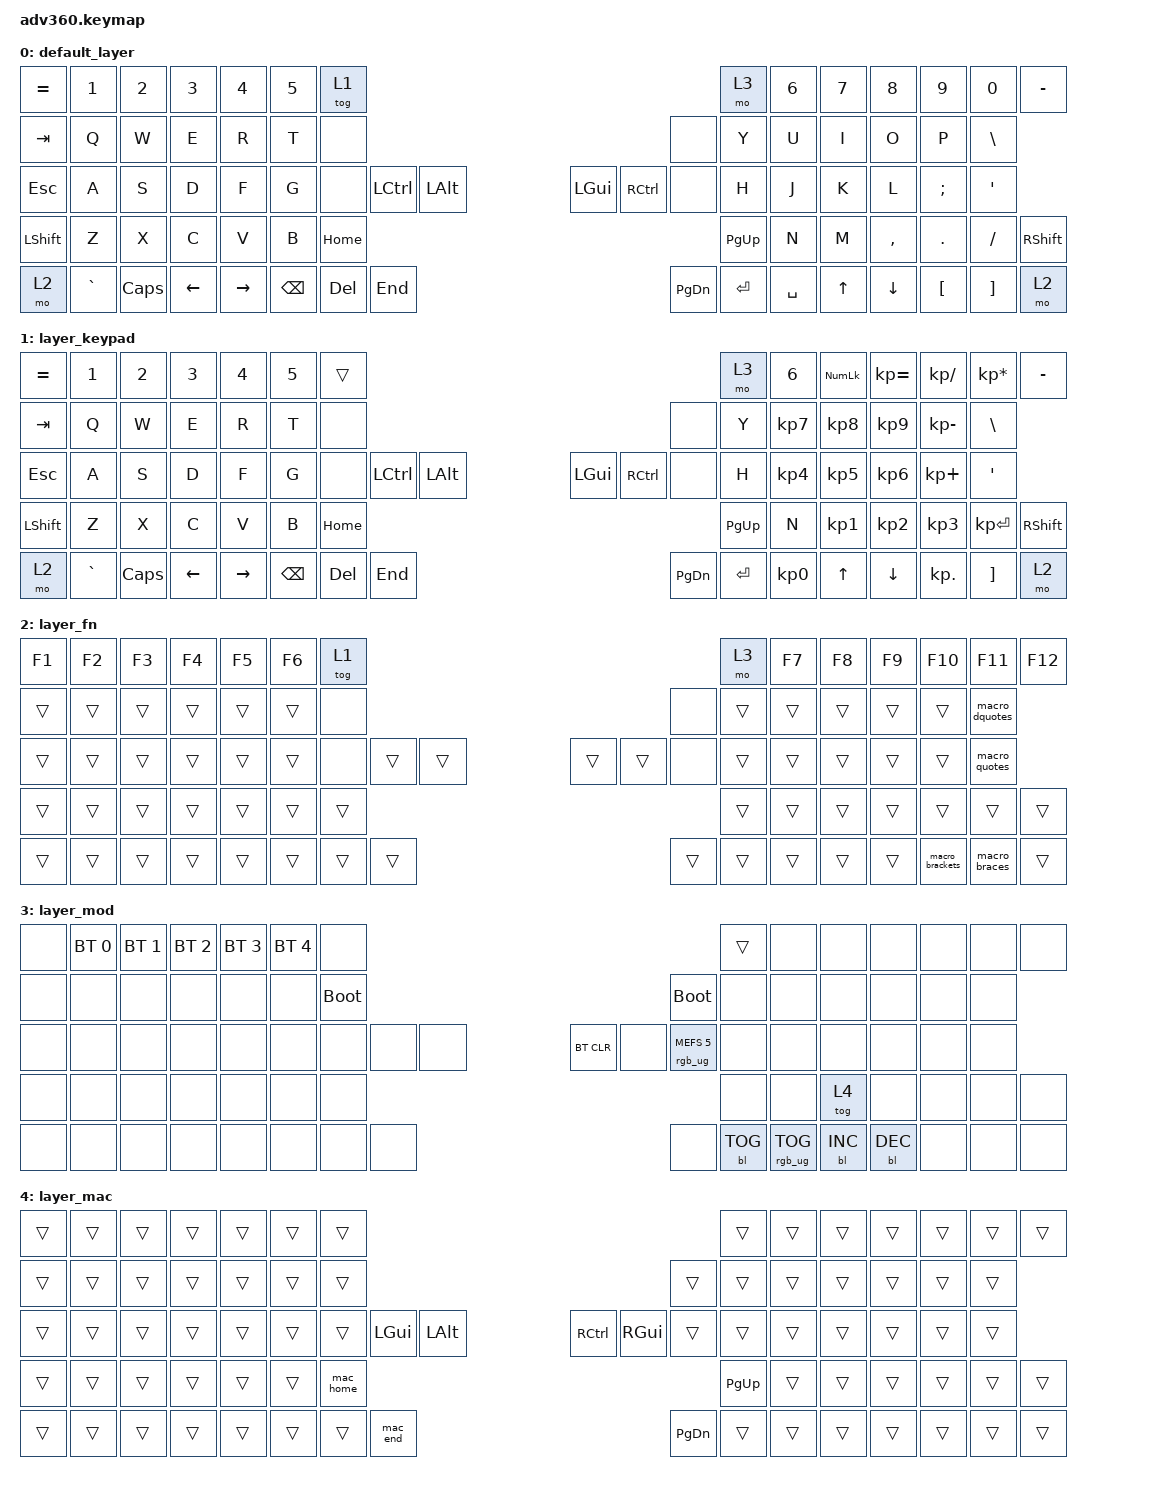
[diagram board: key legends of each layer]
/*
 * Kinesis Advantage 360 Pro — ZMK Keymap
 *
 * Layer 0: Default (Linux/Windows) — stock QWERTY
 * Layer 1: Keypad — numpad on right half (stock)
 * Layer 2: Fn — function keys (stock + custom macros)
 * Layer 3: Mod — BT profiles, bootloader, LED control (stock)
 * Layer 4: macOS — Ctrl<->Cmd swap + Home/End line nav fix
 *
 * Mac layer toggle: place &tog 4 on Mod layer (M key position)
 *
 * IMPORTANT: This is based on the current rynsy/Adv360-Pro-ZMK fork.
 * Sync with upstream before applying these changes.
 */

#include <behaviors.dtsi>
#include <dt-bindings/zmk/keys.h>
#include <dt-bindings/zmk/bt.h>
#include <dt-bindings/zmk/rgb.h>
#include <dt-bindings/zmk/backlight.h>

/ {
  behaviors {
    #include "macros.dtsi"

    hm: homerow_mods {
        compatible = "zmk,behavior-hold-tap";
        label = "HOMEROW_MODS";
        #binding-cells = <2>;
        tapping-term-ms = <200>;
        quick_tap_ms = <175>;
        flavor = "tap-preferred";
        bindings = <&kp>, <&kp>;
    };
  };

  macros {
    /*
     * Home/End → Cmd+Arrow macros for macOS line navigation.
     * On Mac, Home/End scroll to top/bottom of document.
     * Cmd+Left/Right moves to beginning/end of line.
     */
    mac_home: mac_home {
        compatible = "zmk,behavior-macro";
        label = "MAC_HOME";
        #binding-cells = <0>;
        bindings = <&kp LG(LEFT)>;
    };

    mac_end: mac_end {
        compatible = "zmk,behavior-macro";
        label = "MAC_END";
        #binding-cells = <0>;
        bindings = <&kp LG(RIGHT)>;
    };
  };

    keymap {
        compatible = "zmk,keymap";

        /* ============================================================
         * LAYER 0 — DEFAULT (Linux / Windows)
         * ============================================================
         * Stock QWERTY. No modifier changes.
         *
         * Left thumb:  Ctrl, Alt, Bksp, Home, Del, End
         * Right thumb: GUI, Ctrl, PgUp, Enter, Space, PgDn
         */
        default_layer {
            bindings = <
 &kp EQUAL     &kp N1    &kp N2    &kp N3     &kp N4  &kp N5              &tog 1                                                                 &mo 3  &kp N6  &kp N7     &kp N8    &kp N9    &kp N0  &kp MINUS
   &kp TAB      &kp Q     &kp W     &kp E      &kp R   &kp T               &none                                                                 &none   &kp Y   &kp U      &kp I     &kp O     &kp P   &kp BSLH
   &kp ESC      &kp A     &kp S     &kp D      &kp F   &kp G               &none  &kp LCTRL  &kp LALT                   &kp LGUI  &kp RCTRL      &none   &kp H   &kp J      &kp K     &kp L  &kp SEMI    &kp SQT
 &kp LSHFT      &kp Z     &kp X     &kp C      &kp V   &kp B                                 &kp HOME                  &kp PG_UP                         &kp N   &kp M  &kp COMMA   &kp DOT  &kp FSLH  &kp RSHFT
     &mo 2  &kp GRAVE  &kp CAPS  &kp LEFT  &kp RIGHT                    &kp BSPC    &kp DEL   &kp END                  &kp PG_DN  &kp ENTER  &kp SPACE          &kp UP   &kp DOWN  &kp LBKT  &kp RBKT      &mo 2
            >;
        };

        /* ============================================================
         * LAYER 1 — KEYPAD (stock)
         * ============================================================ */
        layer_keypad {
            bindings = <
 &kp EQUAL     &kp N1    &kp N2    &kp N3     &kp N4  &kp N5              &trans                                                                 &mo 3  &kp N6  &kp KP_NUM  &kp KP_EQUAL  &kp KP_DIVIDE  &kp KP_MULTIPLY  &kp MINUS
   &kp TAB      &kp Q     &kp W     &kp E      &kp R   &kp T               &none                                                                 &none   &kp Y   &kp KP_N7     &kp KP_N8      &kp KP_N9     &kp KP_MINUS   &kp BSLH
   &kp ESC      &kp A     &kp S     &kp D      &kp F   &kp G               &none  &kp LCTRL  &kp LALT                   &kp LGUI  &kp RCTRL      &none   &kp H   &kp KP_N4     &kp KP_N5      &kp KP_N6      &kp KP_PLUS    &kp SQT
 &kp LSHFT      &kp Z     &kp X     &kp C      &kp V   &kp B                                 &kp HOME                  &kp PG_UP                         &kp N   &kp KP_N1     &kp KP_N2      &kp KP_N3     &kp KP_ENTER  &kp RSHFT
     &mo 2  &kp GRAVE  &kp CAPS  &kp LEFT  &kp RIGHT                    &kp BSPC    &kp DEL   &kp END                  &kp PG_DN  &kp ENTER  &kp KP_N0              &kp UP      &kp DOWN     &kp KP_DOT         &kp RBKT      &mo 2
            >;
        };

        /* ============================================================
         * LAYER 2 — FUNCTION KEYS (stock + custom macros)
         * ============================================================ */
        layer_fn {
            bindings = <
 &kp F1  &kp F2  &kp F3  &kp F4  &kp F5  &kp F6            &tog 1                                                   &mo 3  &kp F7  &kp F8  &kp F9          &kp F10        &kp F11         &kp F12
 &trans  &trans  &trans  &trans  &trans  &trans             &none                                                   &none  &trans  &trans  &trans           &trans         &trans  &macro_dquotes
 &trans  &trans  &trans  &trans  &trans  &trans             &none  &trans  &trans                  &trans  &trans   &none  &trans  &trans  &trans           &trans         &trans   &macro_quotes
 &trans  &trans  &trans  &trans  &trans  &trans                            &trans                  &trans                  &trans  &trans  &trans           &trans         &trans          &trans
 &trans  &trans  &trans  &trans  &trans                    &trans  &trans  &trans                  &trans  &trans  &trans          &trans  &trans  &macro_brackets  &macro_braces          &trans
            >;
        };

        /* ============================================================
         * LAYER 3 — MOD (BT, bootloader, LED)
         * ============================================================
         * Added: &tog 4 on M key position to toggle Mac layer
         */
        layer_mod {
            bindings = <
  &none  &bt BT_SEL 0  &bt BT_SEL 1  &bt BT_SEL 2  &bt BT_SEL 3  &bt BT_SEL 4                  &none                                                                          &trans   &none       &none       &none   &none   &none   &none
  &none         &none         &none         &none         &none         &none            &bootloader                                                                     &bootloader   &none       &none       &none   &none   &none   &none
  &none         &none         &none         &none         &none         &none                  &none   &none   &none                  &bt BT_CLR       &none  &rgb_ug RGB_MEFS_CMD 5   &none       &none       &none   &none   &none   &none
  &none         &none         &none         &none         &none         &none                                  &none                       &none                                       &none      &tog 4       &none   &none   &none   &none
  &none         &none         &none         &none         &none                                &none   &none   &none                       &none  &bl BL_TOG         &rgb_ug RGB_TOG          &bl BL_INC  &bl BL_DEC   &none   &none   &none
            >;
        };

        /* ============================================================
         * LAYER 4 — macOS
         * ============================================================
         * Ctrl <-> Cmd swap on thumb clusters:
         *   Left Ctrl  → Cmd (LGUI)  — OS shortcuts
         *   Right GUI  → Ctrl (RCTRL) — terminal control
         *   Right Ctrl → Cmd (RGUI)  — OS shortcuts
         *
         * Home → Cmd+Left (beginning of line on Mac)
         * End  → Cmd+Right (end of line on Mac)
         *
         * Everything else passes through from Layer 0.
         */
        layer_mac {
            bindings = <
 &trans  &trans  &trans  &trans  &trans  &trans              &trans                                                                       &trans  &trans  &trans  &trans  &trans  &trans  &trans
 &trans  &trans  &trans  &trans  &trans  &trans              &trans                                                                       &trans  &trans  &trans  &trans  &trans  &trans  &trans
 &trans  &trans  &trans  &trans  &trans  &trans              &trans  &kp LGUI  &kp LALT                   &kp RCTRL  &kp RGUI            &trans  &trans  &trans  &trans  &trans  &trans  &trans
 &trans  &trans  &trans  &trans  &trans  &trans                                &mac_home                  &kp PG_UP                              &trans  &trans  &trans  &trans  &trans  &trans
 &trans  &trans  &trans  &trans  &trans                     &trans    &trans   &mac_end                   &kp PG_DN    &trans    &trans           &trans  &trans  &trans  &trans  &trans
            >;
        };

    };
};

/*
 * SUMMARY OF CHANGES FROM STOCK:
 *
 * Layer 3 (Mod):
 *   - Added &tog 4 on M key position (row 3, right side) to toggle Mac layer
 *
 * Layer 4 (Mac) — NEW:
 *   - Left Ctrl  → LGUI (Cmd)    — same finger does copy/paste/save
 *   - Right GUI  → RCTRL         — terminal Ctrl (Ctrl+C, Ctrl+R, etc.)
 *   - Right Ctrl → RGUI (Cmd)    — right-hand OS shortcuts
 *   - Home       → Cmd+Left      — beginning of line (Mac behavior)
 *   - End        → Cmd+Right     — end of line (Mac behavior)
 *   - PgUp/PgDn  → unchanged     — works fine on Mac as-is
 *   - All other keys → transparent (pass through to Layer 0)
 *
 * GHOSTTY CONFIG (add on Mac only):
 *   keybind = cmd+b=text:\x02
 *   This translates Cmd+b → Ctrl+b for tmux prefix, since left Ctrl
 *   now sends Cmd on the Mac layer.
 *
 * TOGGLE: Hold Mod key (right top) + press M to toggle Mac layer on/off.
 *
 * FLASHING:
 *   1. Sync rynsy/Adv360-Pro-ZMK fork with upstream
 *   2. Replace config/adv360.keymap with this file
 *   3. Push → GitHub Actions builds firmware
 *   4. Download firmware artifact
 *   5. Flash left: Mod+Hotkey1 → USB → drag left.uf2
 *   6. Flash right: Mod+Hotkey3 → USB → drag right.uf2
 */
